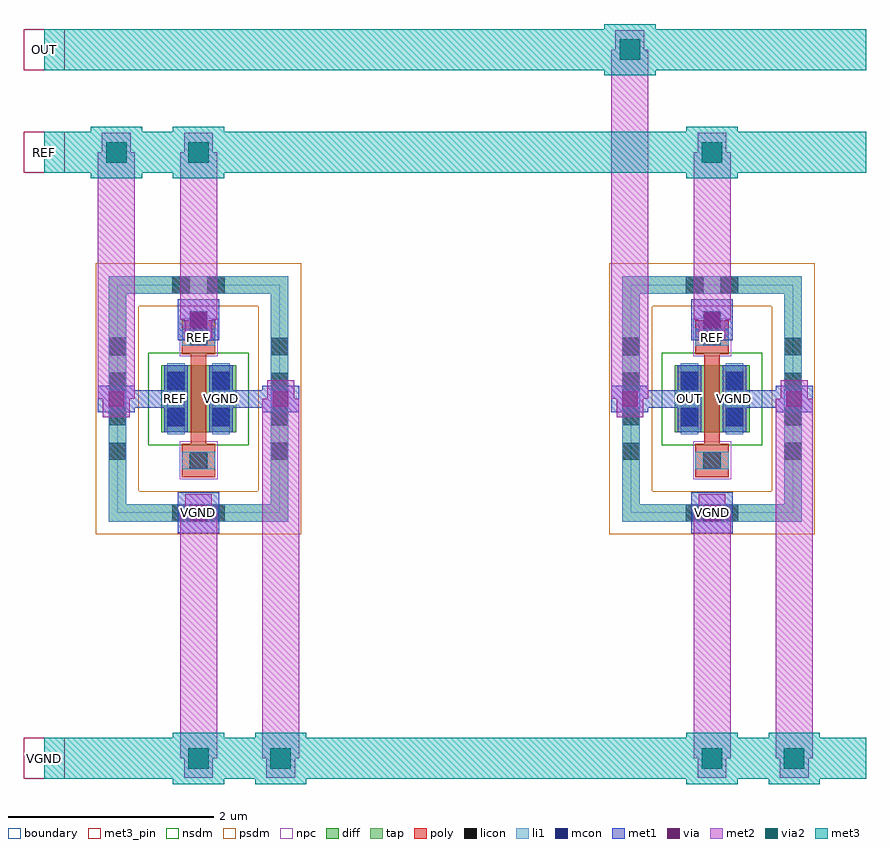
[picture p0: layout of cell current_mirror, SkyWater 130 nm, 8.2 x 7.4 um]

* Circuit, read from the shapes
.subckt current_mirror OUT REF VGND
XM1 VGND REF REF VGND sky130_fd_pr__nfet_01v8 w=0.65 l=0.15
XM2 VGND REF OUT VGND sky130_fd_pr__nfet_01v8 w=0.65 l=0.15
.ends

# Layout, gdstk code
import gdstk
lib = gdstk.Library(unit=1e-6, precision=1e-09)
def R(c, l, rs):  # rectangles x0, y0, x1, y1
    for r in rs: c.add(gdstk.rectangle(r[:2], r[2:], *l))
def A(c, l, x, y, w, h, nx, ny, dx, dy):  # array of equal rectangles
    R(c, l, [(x+i*dx, y+j*dy, x+i*dx+w, y+j*dy+h) for i in range(nx) for j in range(ny)])
diff = (65, 20)
tap = (65, 44)
poly = (66, 20)
licon = (66, 44)
li1 = (67, 20)
mcon = (67, 44)
met1 = (68, 20)
via = (68, 44)
met2 = (69, 20)
via2 = (69, 44)
met3_pin = (70, 16)
met3 = (70, 20)
nsdm = (93, 44)
psdm = (94, 20)
npc = (95, 20)
boundary = (235, 4)

current_mirror = lib.new_cell('current_mirror')
R(current_mirror, diff, [(-0.365,-0.325,0.365,0.325), (4.635,-0.325,5.365,0.325)])
R(current_mirror, tap, [(-0.875,-1.195,0.875,-1.025), (4.125,-1.195,5.875,-1.025), (-0.875,-1.025,-0.705,1.025), (0.705,-1.025,0.875,1.025), (4.125,-1.025,4.295,1.025), (5.705,-1.025,5.875,1.025), (-0.875,1.025,0.875,1.195), (4.125,1.025,5.875,1.195)])
R(current_mirror, poly, [(-0.165,-0.765,0.165,-0.435), (4.835,-0.765,5.165,-0.435), (-0.075,-0.435,0.075,0.435), (4.925,-0.435,5.075,0.435), (-0.165,0.435,0.165,0.765), (4.835,0.435,5.165,0.765)])
A(current_mirror, licon, -0.875, -0.595, 0.17, 0.17, 1, 4, 0, 0.34)
A(current_mirror, licon, 0.705, -0.595, 0.17, 0.17, 1, 4, 0, 0.34)
A(current_mirror, licon, 4.125, -0.595, 0.17, 0.17, 1, 4, 0, 0.34)
A(current_mirror, licon, 5.705, -0.595, 0.17, 0.17, 1, 4, 0, 0.34)
R(current_mirror, licon, [(-0.255,-1.195,-0.085,-1.025), (0.085,-1.195,0.255,-1.025), (4.745,-1.195,4.915,-1.025), (5.085,-1.195,5.255,-1.025), (-0.085,-0.685,0.085,-0.515), (4.915,-0.685,5.085,-0.515), (-0.305,-0.255,-0.135,-0.085), (0.135,-0.255,0.305,-0.085), (4.695,-0.255,4.865,-0.085), (5.135,-0.255,5.305,-0.085), (-0.305,0.085,-0.135,0.255), (0.135,0.085,0.305,0.255), (4.695,0.085,4.865,0.255), (5.135,0.085,5.305,0.255), (-0.085,0.515,0.085,0.685), (4.915,0.515,5.085,0.685), (-0.255,1.025,-0.085,1.195), (0.085,1.025,0.255,1.195), (4.745,1.025,4.915,1.195), (5.085,1.025,5.255,1.195)])
R(current_mirror, li1, [(-0.875,-1.195,0.875,-1.025), (4.125,-1.195,5.875,-1.025), (-0.875,-1.025,-0.705,1.025), (0.705,-1.025,0.875,1.025), (4.125,-1.025,4.295,1.025), (5.705,-1.025,5.875,1.025), (-0.165,-0.685,0.165,-0.515), (4.835,-0.685,5.165,-0.515), (-0.305,-0.345,-0.135,0.345), (0.135,-0.345,0.305,0.345), (4.695,-0.345,4.865,0.345), (5.135,-0.345,5.305,0.345), (-0.165,0.515,0.165,0.685), (-0.085,0.515,0.085,0.855), (4.835,0.515,5.165,0.685), (4.915,0.515,5.085,0.855), (-0.875,1.025,0.875,1.195), (4.125,1.025,5.875,1.195)])
R(current_mirror, mcon, [(-0.085,-1.195,0.085,-1.025), (4.915,-1.195,5.085,-1.025), (-0.305,-0.265,-0.135,-0.095), (0.135,-0.265,0.305,-0.095), (4.695,-0.265,4.865,-0.095), (5.135,-0.265,5.305,-0.095), (-0.305,0.095,-0.135,0.265), (0.135,0.095,0.305,0.265), (4.695,0.095,4.865,0.265), (5.135,0.095,5.305,0.265), (-0.085,0.685,0.085,0.855), (4.915,0.685,5.085,0.855)])
R(current_mirror, met1, [(-0.2,-1.31,0.2,-0.91), (4.8,-1.31,5.2,-0.91), (-0.18,-1.24,0.18,-0.98), (4.82,-1.24,5.18,-0.98), (-0.335,-0.325,-0.105,0.325), (0.105,-0.325,0.335,0.325), (4.665,-0.325,4.895,0.325), (5.105,-0.325,5.335,0.325), (-0.98,-0.13,-0.62,0.13), (0.62,-0.13,0.98,0.13), (4.02,-0.13,4.38,0.13), (5.62,-0.13,5.98,0.13), (-0.2,0.57,0.2,0.97), (4.8,0.57,5.2,0.97), (-0.18,0.64,0.18,0.9), (4.82,0.64,5.18,0.9)])
R(current_mirror, via, [(-0.075,-1.185,0.075,-1.035), (4.925,-1.185,5.075,-1.035), (-0.875,-0.075,-0.725,0.075), (0.725,-0.075,0.875,0.075), (4.125,-0.075,4.275,0.075), (5.725,-0.075,5.875,0.075), (-0.075,0.695,0.075,0.845), (4.925,0.695,5.075,0.845)])
R(current_mirror, met2, [(-0.14,-3.69,0.14,-3.31), (0.66,-3.69,0.94,-3.31), (4.86,-3.69,5.14,-3.31), (5.66,-3.69,5.94,-3.31), (-0.13,-1.29,0.13,-0.93), (4.87,-1.29,5.13,-0.93), (-0.93,-0.18,-0.67,0.18), (0.67,-0.18,0.93,0.18), (4.07,-0.18,4.33,0.18), (5.67,-0.18,5.93,0.18), (-0.13,0.59,0.13,0.95), (4.87,0.59,5.13,0.95), (-0.94,2.21,-0.66,2.59), (-0.14,2.21,0.14,2.59), (4.86,2.21,5.14,2.59), (4.06,3.21,4.34,3.59)])
R(current_mirror, via2, [(-0.1,-3.6,0.1,-3.4), (0.7,-3.6,0.9,-3.4), (4.9,-3.6,5.1,-3.4), (5.7,-3.6,5.9,-3.4), (-0.9,2.3,-0.7,2.5), (-0.1,2.3,0.1,2.5), (4.9,2.3,5.1,2.5), (4.1,3.3,4.3,3.5)])
R(current_mirror, met3_pin, [(-1.7,-3.7,-1.3,-3.3), (-1.7,2.2,-1.3,2.6), (-1.7,3.2,-1.3,3.6)])
R(current_mirror, met3, [(-0.25,-3.75,0.25,-3.25), (0.55,-3.75,1.05,-3.25), (4.75,-3.75,5.25,-3.25), (5.55,-3.75,6.05,-3.25), (-1.05,2.15,-0.55,2.65), (-0.25,2.15,0.25,2.65), (4.75,2.15,5.25,2.65), (3.95,3.15,4.45,3.65)])
R(current_mirror, nsdm, [(-0.49,-0.45,0.49,0.45), (4.51,-0.45,5.49,0.45)])
R(current_mirror, psdm, [(-1,-1.32,1,-0.9), (4,-1.32,6,-0.9), (-1,-0.9,-0.58,0.9), (0.58,-0.9,1,0.9), (4,-0.9,4.42,0.9), (5.58,-0.9,6,0.9), (-1,0.9,1,1.32), (4,0.9,6,1.32)])
R(current_mirror, npc, [(-0.185,-0.785,0.185,-0.415), (4.815,-0.785,5.185,-0.415), (-0.185,0.415,0.185,0.785), (4.815,0.415,5.185,0.785)])
R(current_mirror, boundary, [(-0.79,-1.11,0.79,1.11), (4.21,-1.11,5.79,1.11)])
current_mirror.add(gdstk.FlexPath([(5.22,0),(5.8,0)], 0.17, ends="flush", simple_path=True, layer=68, datatype=20))  # met1
current_mirror.add(gdstk.FlexPath([(4.78,0),(4.2,0)], 0.17, ends="flush", simple_path=True, layer=68, datatype=20))  # met1
current_mirror.add(gdstk.FlexPath([(0.22,0),(0.8,0)], 0.17, ends="flush", simple_path=True, layer=68, datatype=20))  # met1
current_mirror.add(gdstk.FlexPath([(-0.22,0),(-0.8,0)], 0.17, ends="flush", simple_path=True, layer=68, datatype=20))  # met1
current_mirror.add(gdstk.FlexPath([(5,0.77),(5,2.4)], 0.36, ends="flush", simple_path=True, layer=69, datatype=20))  # met2
current_mirror.add(gdstk.FlexPath([(5.8,0),(5.8,-3.5)], 0.36, ends="flush", simple_path=True, layer=69, datatype=20))  # met2
current_mirror.add(gdstk.FlexPath([(5,-1.11),(5,-3.5)], 0.36, ends="flush", simple_path=True, layer=69, datatype=20))  # met2
current_mirror.add(gdstk.FlexPath([(4.2,0),(4.2,3.4)], 0.36, ends="flush", simple_path=True, layer=69, datatype=20))  # met2
current_mirror.add(gdstk.FlexPath([(0,-1.11),(0,-3.5)], 0.36, ends="flush", simple_path=True, layer=69, datatype=20))  # met2
current_mirror.add(gdstk.FlexPath([(0,0.77),(0,2.4)], 0.36, ends="flush", simple_path=True, layer=69, datatype=20))  # met2
current_mirror.add(gdstk.FlexPath([(0.8,0),(0.8,-3.5)], 0.36, ends="flush", simple_path=True, layer=69, datatype=20))  # met2
current_mirror.add(gdstk.FlexPath([(-0.8,0),(-0.8,2.4)], 0.36, ends="flush", simple_path=True, layer=69, datatype=20))  # met2
current_mirror.add(gdstk.FlexPath([(-1.5,-3.5),(6.5,-3.5)], 0.4, ends="flush", simple_path=True, layer=70, datatype=20))  # met3
current_mirror.add(gdstk.FlexPath([(-1.5,3.4),(6.5,3.4)], 0.4, ends="flush", simple_path=True, layer=70, datatype=20))  # met3
current_mirror.add(gdstk.FlexPath([(-1.5,2.4),(6.5,2.4)], 0.4, ends="flush", simple_path=True, layer=70, datatype=20))  # met3
current_mirror.add(gdstk.Label('REF', (5,0.6), layer=67, texttype=5))
current_mirror.add(gdstk.Label('VGND', (5.22,0), layer=67, texttype=5))
current_mirror.add(gdstk.Label('OUT', (4.78,0), layer=67, texttype=5))
current_mirror.add(gdstk.Label('REF', (0,0.6), layer=67, texttype=5))
current_mirror.add(gdstk.Label('VGND', (0.22,0), layer=67, texttype=5))
current_mirror.add(gdstk.Label('VGND', (5,-1.11), layer=67, texttype=5))
current_mirror.add(gdstk.Label('REF', (-0.22,0), layer=67, texttype=5))
current_mirror.add(gdstk.Label('VGND', (0,-1.11), layer=67, texttype=5))
current_mirror.add(gdstk.Label('VGND', (-1.5,-3.5), layer=70, texttype=5))
current_mirror.add(gdstk.Label('OUT', (-1.5,3.4), layer=70, texttype=5))
current_mirror.add(gdstk.Label('REF', (-1.5,2.4), layer=70, texttype=5))

lib.write_gds('current_mirror.gds')
